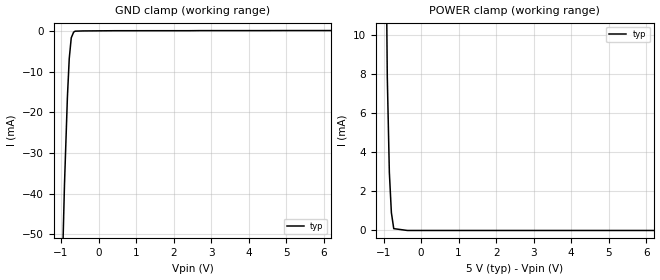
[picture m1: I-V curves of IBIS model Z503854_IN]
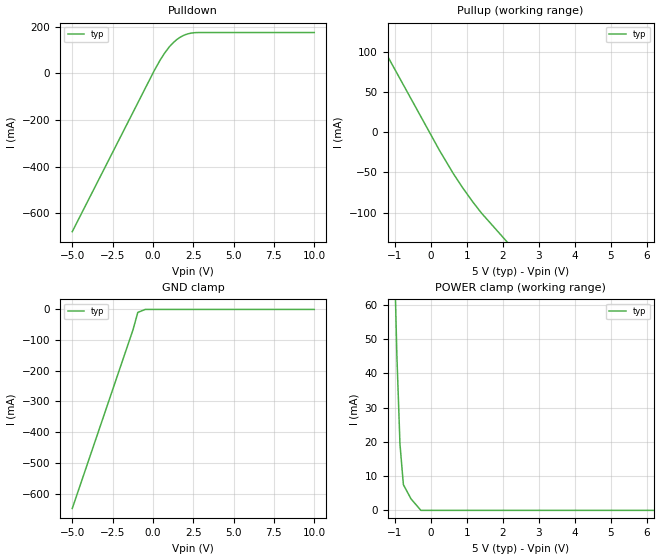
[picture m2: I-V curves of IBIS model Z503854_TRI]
| YOU ARE ONLY AUTHORIZED TO USE THIS SOFTWARE
| ACCORDING TO LICENSOR'S LICENSE RESTRICTIONS.
[IBIS Ver] 3.1
[File Name] mc74act350d.ibs
[File Rev] 2.0
[Source] Measured and created by ICX Technology
[Date] Friday 7/14/00 9:08:01 AM
[Copyright]
| (C) COPYRIGHT 1993-2000
| MENTOR GRAPHICS CORPORATION
| ICX STANDARD LIBRARY, ICX PROJECT MODELING,
| ICX CUSTOM MODELING, ICX VENDOR MODEL
| ALL RIGHTS RESERVED.
| THE FOLLOWING ARE TRADEMARKS OR SERVICE MARKS OF
| MENTOR GRAPHICS CORPORATION:ICX (R), ICX STANDARD
| LIBRARY(R), ICX PROJECT MODELING(R), ICX CUSTOM
| MODELING(R), qualityIBIS(TM), MODELVIEWER(TM),
| AND MODELEDITOR(TM)
| ALL COPIES OF SOFTWARE, INCLUDING BUT NOT LIMITED TO
| ANY MODIFICATIONS, ENHANCEMENTS OR DERIVATIVE WORKS,
| MUST CONTAIN ALL MENTOR GRAPHICS CORPORATION'S
| NOTICES AND LEGENDS, INCLUDING THOSE EMBEDDED IN
| SOFTWARE AND THOSE AFFIXED TO SOFTWARE MEDIUM
| AND CONTAINER, AS RECEIVED FROM MENTOR GRAPHICS
| CORPORATION.
|  ZAP Model Builder 2.7
[Component] MC74ACT350D
[Manufacturer] OnSemiconductor
[Package]
| variable   typ   min   max
R_pkg  .156ohms NA NA
L_pkg  3.148nH NA NA
C_pkg  .388pF NA NA
[Pin] signal_name  model_name  R_pin  L_pin C_pin
1 D_3 Z503854_IN .162 3.798n .418p
2 D_2 Z503854_IN .158 3.358n .398p
3 D_1 Z503854_IN .154 2.928n .378p
4 D0 Z503854_IN .15 2.508n .358p
5 D1 Z503854_IN .15 2.508n .358p
6 D2 Z503854_IN .154 2.928n .378p
7 D3 Z503854_IN .158 3.358n .398p
8 GND GND .162 3.798n .418p
9 S1 Z503854_IN .162 3.798n .418p
10 S0 Z503854_IN .158 3.358n .398p
11 Y3 Z503854_TRI .154 2.928n .378p
12 Y2 Z503854_TRI .15 2.508n .358p
13 _OE Z503854_IN .15 2.508n .358p
14 Y1 Z503854_TRI .154 2.928n .378p
15 Y0 Z503854_TRI .158 3.358n .398p
16 VCC POWER .162 3.798n .418p
| Models and submodels in the file (2): Z503854_IN (Input), Z503854_TRI (3-state)
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| (C) COPYRIGHT 1993-2000
| MENTOR GRAPHICS CORPORATION
| ICX STANDARD LIBRARY, ICX PROJECT MODELING,
| ICX CUSTOM MODELING, ICX VENDOR MODEL
| ALL RIGHTS RESERVED.
| THE FOLLOWING ARE TRADEMARKS OR SERVICE MARKS OF
| MENTOR GRAPHICS CORPORATION:ICX (R), ICX STANDARD
| LIBRARY(R), ICX PROJECT MODELING(R), ICX CUSTOM
| MODELING(R), qualityIBIS(TM), MODELVIEWER(TM),
| AND MODELEDITOR(TM)
| ALL COPIES OF SOFTWARE, INCLUDING BUT NOT LIMITED TO
| ANY MODIFICATIONS, ENHANCEMENTS OR DERIVATIVE WORKS,
| MUST CONTAIN ALL MENTOR GRAPHICS CORPORATION'S
| NOTICES AND LEGENDS, INCLUDING THOSE EMBEDDED IN
| SOFTWARE AND THOSE AFFIXED TO SOFTWARE MEDIUM
| AND CONTAINER, AS RECEIVED FROM MENTOR GRAPHICS
| CORPORATION.
| Model Application Version 1.89 2/18/99.
[Model] Z503854_IN
Model_type Input
Vinl = 800.0mV
Vinh = 2.000V
C_comp 4.000pF NA NA
| variable typ   min   max
[Voltage Range] 5.000V NA NA
[GND Clamp Reference] 0.000V NA NA
[POWER Clamp Reference] 5.000V NA NA
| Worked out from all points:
|   GND clamp passes 1 mA (typ) near -0.70 V on its own axis
|   POWER clamp passes 1 mA (typ) near -0.79 V on its own axis
[GND Clamp]
-5V       -2.641A    NA         NA
-1.006V   -73.24mA   NA         NA
-908.1mV  -37.78mA   NA         NA
-830mV    -16.18mA   NA         NA
-781.2mV  -6.724mA   NA         NA
-727.7mV  -1.625mA   NA         NA
-664.3mV  -232.8uA   NA         NA
-625.2mV  11.38uA    NA         NA
10V       167.4uA    NA         NA
[POWER Clamp]
-5V       1.746A     NA         NA
-1.133V   73.49mA    NA         NA
-1.001V   28.7mA     NA         NA
-900mV    7.871mA    NA         NA
-845mV    2.976mA    NA         NA
-791mV    916.6uA    NA         NA
-728mV    94.2uA     NA         NA
-364mV    0A         NA         NA
10V       0A         NA         NA
| (C) COPYRIGHT 1993-2000
| MENTOR GRAPHICS CORPORATION
| ICX STANDARD LIBRARY, ICX PROJECT MODELING,
| ICX CUSTOM MODELING, ICX VENDOR MODEL
| ALL RIGHTS RESERVED.
| THE FOLLOWING ARE TRADEMARKS OR SERVICE MARKS OF
| MENTOR GRAPHICS CORPORATION:ICX (R), ICX STANDARD
| LIBRARY(R), ICX PROJECT MODELING(R), ICX CUSTOM
| MODELING(R), qualityIBIS(TM), MODELVIEWER(TM),
| AND MODELEDITOR(TM)
| ALL COPIES OF SOFTWARE, INCLUDING BUT NOT LIMITED TO
| ANY MODIFICATIONS, ENHANCEMENTS OR DERIVATIVE WORKS,
| MUST CONTAIN ALL MENTOR GRAPHICS CORPORATION'S
| NOTICES AND LEGENDS, INCLUDING THOSE EMBEDDED IN
| SOFTWARE AND THOSE AFFIXED TO SOFTWARE MEDIUM
| AND CONTAINER, AS RECEIVED FROM MENTOR GRAPHICS
| CORPORATION.
| Model Application Version 1.89 2/18/99.
[Model] Z503854_TRI
Model_type 3-state
Vref=0.000V
Rref=500.0ohms
Cref=50.00pF
Vmeas=1.500V
C_comp 8.000pF NA NA
| variable typ   min   max
[Voltage Range] 5.000V NA NA
[POWER Clamp Reference] 5.000V NA NA
[Pullup Reference] 5.000V NA NA
[Pulldown Reference] 0.000V NA NA
[GND Clamp Reference] 0.000V NA NA
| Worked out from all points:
|   slope of the pulldown table from 0 to 0.75 V, typ, clamps not added: 8.47 ohm
|   slope of the pullup table from 0 to 0.75 V, typ, clamps not added: 13.2 ohm
[GND Clamp]
-5V       -648.7mA   NA         NA
-1.233V   -66.27mA   NA         NA
-937.5mV  -9.753mA   NA         NA
-468.8mV  0A         NA         NA
10V       0A         NA         NA
[Pulldown]
-5V       -678.2mA   NA         NA
92.89mV   12.61mA    NA         NA
732.5mV   86.91mA    NA         NA
1.021V    113.4mA    NA         NA
1.489V    144.7mA    NA         NA
2.022V    165.3mA    NA         NA
2.695V    174.1mA    NA         NA
10V       174.2mA    NA         NA
[Pullup]
-5V       402.8mA    NA         NA
239mV     -22.39mA   NA         NA
626mV     -51.45mA   NA         NA
889mV     -69.32mA   NA         NA
1.168V    -86.74mA   NA         NA
1.411V    -100.7mA   NA         NA
10V       -533mA     NA         NA
[POWER Clamp]
-5V       2.212A     NA         NA
-1.033V   84.55mA    NA         NA
-942mV    45.54mA    NA         NA
-855mV    19.37mA    NA         NA
-760mV    7.497mA    NA         NA
-546mV    3.316mA    NA         NA
-273mV    0A         NA         NA
10V       0A         NA         NA
[Ramp]
| variable typ min max
dV/dt_r 2.949/365.7p NA NA
dV/dt_f 2.949/517.8p NA NA
R_load = 500.0Ohms
